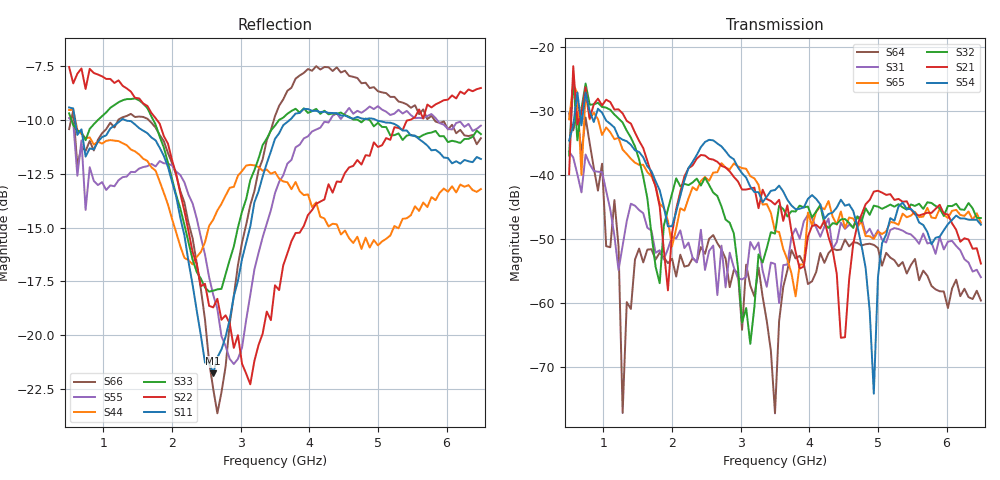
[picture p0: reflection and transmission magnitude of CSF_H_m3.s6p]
!Keysight Technologies,M9804A,MY58100912,A.14.10.03
!Date: Thursday, April 27, 2023 10:28:33
!Correction: S11(C  6-Port  )
!S12(C  6-Port  )
!S13(C  6-Port  )
!S14(C  6-Port  )
!S15(C  6-Port  )
!S16(C  6-Port  )
!S21(C  6-Port  )
!S22(C  6-Port  )
!S23(C  6-Port  )
!S24(C  6-Port  )
!S25(C  6-Port  )
!S26(C  6-Port  )
!S31(C  6-Port  )
!S32(C  6-Port  )
!S33(C  6-Port  )
!S34(C  6-Port  )
!S35(C  6-Port  )
!S36(C  6-Port  )
!S41(C  6-Port  )
!S42(C  6-Port  )
!S43(C  6-Port  )
!S44(C  6-Port  )
!S45(C  6-Port  )
!S46(C  6-Port  )
!S51(C  6-Port  )
!S52(C  6-Port  )
!S53(C  6-Port  )
!S54(C  6-Port  )
!S55(C  6-Port  )
!S56(C  6-Port  )
!S61(C  6-Port  )
!S62(C  6-Port  )
!S63(C  6-Port  )
!S64(C  6-Port  )
!S65(C  6-Port  )
!S66(C  6-Port  )
!S6P File: Measurement: :
# Hz S  RI  R 50
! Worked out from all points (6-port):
!   101 points, 500 MHz to 6.5 GHz, reference 50 ohm
!   strongest paths, dB at 500 MHz, 2 GHz, 3.5 GHz, 5 GHz, 6.5 GHz:
!     S54: -34.6, -48.0, -42.4, -56.0, -47.8
!     S21: -39.9, -49.1, -44.6, -42.5, -53.9
!     S32: -37.0, -43.0, -49.2, -45.0, -46.8
!     S65: -31.3, -51.2, -48.8, -48.9, -47.5
!     S31: -36.4, -49.7, -53.9, -48.7, -56.0
!     S64: -30.4, -53.1, -77.3, -51.4, -59.7
!   lowest |S11| = -21.8 dB at 2.6 GHz (marker M1), VSWR 1.18, Z = 42.7 + j1.99 ohm
!   |S11| at or under -10 dB: 585.6 MHz to 1.265 GHz (679.1 MHz wide, 73.4 % of centre); 1.308 GHz to 3.717 GHz (2.409 GHz wide, 95.9 % of centre); 4.966 GHz to end of sweep
